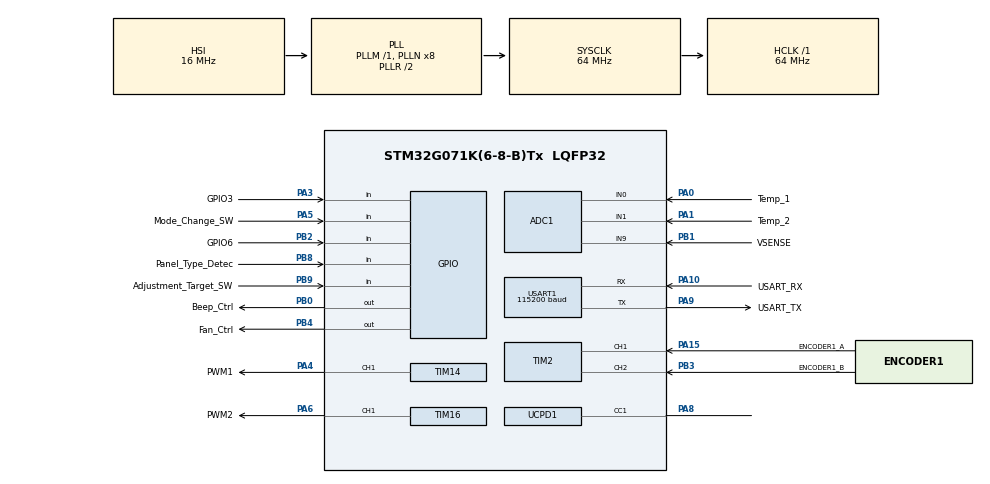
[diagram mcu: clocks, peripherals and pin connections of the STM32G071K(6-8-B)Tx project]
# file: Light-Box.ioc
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ADC1.Channel-0\#ChannelRegularConversion=ADC_CHANNEL_9
ADC1.Channel-1\#ChannelRegularConversion=ADC_CHANNEL_0
ADC1.Channel-2\#ChannelRegularConversion=ADC_CHANNEL_1
ADC1.ClockPrescaler=ADC_CLOCK_SYNC_PCLK_DIV4
ADC1.ContinuousConvMode=ENABLE
ADC1.DMAContinuousRequests=ENABLE
ADC1.NbrOfConversion=3
ADC1.NbrOfConversionFlag=1
ADC1.Overrun=ADC_OVR_DATA_OVERWRITTEN
ADC1.Rank-0\#ChannelRegularConversion=1
ADC1.Rank-1\#ChannelRegularConversion=2
ADC1.Rank-2\#ChannelRegularConversion=3
ADC1.SamplingTime-0\#ChannelRegularConversion=ADC_SAMPLINGTIME_COMMON_1
ADC1.SamplingTime-1\#ChannelRegularConversion=ADC_SAMPLINGTIME_COMMON_2
ADC1.SamplingTime-2\#ChannelRegularConversion=ADC_SAMPLINGTIME_COMMON_2
ADC1.SamplingTimeCommon1=ADC_SAMPLETIME_12CYCLES_5
ADC1.SamplingTimeCommon2=ADC_SAMPLETIME_39CYCLES_5
ADC1.SelectedChannel=ADC_CHANNEL_0|ADC_CHANNEL_1|ADC_CHANNEL_TEMPSENSOR|ADC_CHANNEL_9
ADC1.master=1
Dma.ADC1.1.Direction=DMA_PERIPH_TO_MEMORY
Dma.ADC1.1.EventEnable=DISABLE
Dma.ADC1.1.Instance=DMA1_Channel1
Dma.ADC1.1.MemDataAlignment=DMA_MDATAALIGN_HALFWORD
Dma.ADC1.1.MemInc=DMA_MINC_ENABLE
Dma.ADC1.1.Mode=DMA_CIRCULAR
Dma.ADC1.1.PeriphDataAlignment=DMA_PDATAALIGN_HALFWORD
Dma.ADC1.1.PeriphInc=DMA_PINC_DISABLE
Dma.ADC1.1.Polarity=HAL_DMAMUX_REQ_GEN_RISING
Dma.ADC1.1.Priority=DMA_PRIORITY_MEDIUM
Dma.ADC1.1.RequestNumber=1
Dma.ADC1.1.SignalID=NONE
Dma.ADC1.1.SyncEnable=DISABLE
Dma.ADC1.1.SyncPolarity=HAL_DMAMUX_SYNC_NO_EVENT
Dma.ADC1.1.SyncRequestNumber=1
Dma.ADC1.1.SyncSignalID=NONE
Dma.Request0=USART1_TX
Dma.Request1=ADC1
Dma.Request2=UCPD1_TX
Dma.Request3=UCPD1_RX
Dma.UCPD1_RX.3.Direction=DMA_PERIPH_TO_MEMORY
Dma.UCPD1_RX.3.EventEnable=DISABLE
Dma.UCPD1_RX.3.Instance=DMA1_Channel4
Dma.UCPD1_RX.3.MemDataAlignment=DMA_MDATAALIGN_BYTE
Dma.UCPD1_RX.3.MemInc=DMA_MINC_ENABLE
Dma.UCPD1_RX.3.Mode=DMA_NORMAL
Dma.UCPD1_RX.3.PeriphDataAlignment=DMA_PDATAALIGN_BYTE
Dma.UCPD1_RX.3.PeriphInc=DMA_PINC_DISABLE
Dma.UCPD1_RX.3.Polarity=HAL_DMAMUX_REQ_GEN_RISING
Dma.UCPD1_RX.3.Priority=DMA_PRIORITY_LOW
Dma.UCPD1_RX.3.RequestNumber=1
Dma.UCPD1_RX.3.SignalID=NONE
Dma.UCPD1_RX.3.SyncEnable=DISABLE
Dma.UCPD1_RX.3.SyncPolarity=HAL_DMAMUX_SYNC_NO_EVENT
Dma.UCPD1_RX.3.SyncRequestNumber=1
Dma.UCPD1_RX.3.SyncSignalID=NONE
Dma.UCPD1_TX.2.Direction=DMA_MEMORY_TO_PERIPH
Dma.UCPD1_TX.2.EventEnable=DISABLE
Dma.UCPD1_TX.2.Instance=DMA1_Channel2
Dma.UCPD1_TX.2.MemDataAlignment=DMA_MDATAALIGN_BYTE
Dma.UCPD1_TX.2.MemInc=DMA_MINC_ENABLE
Dma.UCPD1_TX.2.Mode=DMA_NORMAL
Dma.UCPD1_TX.2.PeriphDataAlignment=DMA_PDATAALIGN_BYTE
Dma.UCPD1_TX.2.PeriphInc=DMA_PINC_DISABLE
Dma.UCPD1_TX.2.Polarity=HAL_DMAMUX_REQ_GEN_RISING
Dma.UCPD1_TX.2.Priority=DMA_PRIORITY_LOW
Dma.UCPD1_TX.2.RequestNumber=1
Dma.UCPD1_TX.2.SignalID=NONE
Dma.UCPD1_TX.2.SyncEnable=DISABLE
Dma.UCPD1_TX.2.SyncPolarity=HAL_DMAMUX_SYNC_NO_EVENT
Dma.UCPD1_TX.2.SyncRequestNumber=1
Dma.UCPD1_TX.2.SyncSignalID=NONE
Dma.USART1_TX.0.Direction=DMA_MEMORY_TO_PERIPH
Dma.USART1_TX.0.EventEnable=DISABLE
Dma.USART1_TX.0.Instance=DMA1_Channel3
Dma.USART1_TX.0.MemDataAlignment=DMA_MDATAALIGN_BYTE
Dma.USART1_TX.0.MemInc=DMA_MINC_ENABLE
Dma.USART1_TX.0.Mode=DMA_NORMAL
Dma.USART1_TX.0.PeriphDataAlignment=DMA_PDATAALIGN_BYTE
Dma.USART1_TX.0.PeriphInc=DMA_PINC_DISABLE
Dma.USART1_TX.0.Polarity=HAL_DMAMUX_REQ_GEN_RISING
Dma.USART1_TX.0.Priority=DMA_PRIORITY_LOW
Dma.USART1_TX.0.RequestNumber=1
Dma.USART1_TX.0.SignalID=NONE
Dma.USART1_TX.0.SyncEnable=DISABLE
Dma.USART1_TX.0.SyncPolarity=HAL_DMAMUX_SYNC_NO_EVENT
Dma.USART1_TX.0.SyncRequestNumber=1
Dma.USART1_TX.0.SyncSignalID=NONE
FREERTOS.Tasks01=MainTask,2,256,StartMainTask,Default,NULL,Dynamic,NULL,NULL;AdjustLight,1,128,Run_AdjustLightOutput,Default,NULL,Dynamic,NULL,NULL;AdjustTarget,-1,128,Run_AdjustTargetChange,Default,NULL,Dynamic,NULL,NULL;Shortcut,1,128,Run_Shortcut,Default,NULL,Dynamic,NULL,NULL
FREERTOS.configTIMER_TASK_STACK_DEPTH=128
FREERTOS.configTOTAL_HEAP_SIZE=18384
FREERTOS.configUSE_NEWLIB_REENTRANT=1
FREERTOS.configUSE_TIMERS=1
Mcu.Family=STM32G0
Mcu.Name=STM32G071K(6-8-B)Tx
Mcu.Package=LQFP32
Mcu.UserConstants=OverTempLimit,TempState;VDDA_APPLI,3300
NVIC.ADC1_COMP_IRQn=true\:3\:0\:false\:false\:true\:true\:true\:true\:true
NVIC.DMA1_Ch4_7_DMAMUX1_OVR_IRQn=true\:3\:0\:false\:false\:true\:true\:false\:true\:true
NVIC.DMA1_Channel1_IRQn=true\:3\:0\:false\:false\:true\:true\:false\:true\:true
NVIC.DMA1_Channel2_3_IRQn=true\:3\:0\:false\:false\:true\:true\:false\:true\:true
NVIC.TIM14_IRQn=true\:3\:0\:false\:false\:true\:true\:true\:true\:true
NVIC.TIM16_IRQn=true\:3\:0\:true\:false\:true\:true\:true\:true\:true
NVIC.TIM2_IRQn=true\:3\:0\:false\:false\:true\:true\:true\:true\:true
NVIC.UCPD1_2_IRQn=true\:3\:0\:false\:false\:true\:true\:true\:false\:true
NVIC.USART1_IRQn=true\:3\:0\:false\:false\:true\:true\:true\:true\:true
PA0.GPIO_Label=Temp_1
PA0.Mode=IN0
PA0.Signal=ADC1_IN0
PA1.GPIO_Label=Temp_2
PA1.Mode=IN1
PA1.Signal=ADC1_IN1
PA10\ [PA12].GPIO_Label=USART_RX
PA10\ [PA12].Mode=Asynchronous
PA10\ [PA12].Signal=USART1_RX
PA13.Mode=Serial_Wire
PA13.Signal=SYS_SWDIO
PA14-BOOT0.Mode=Serial_Wire
PA14-BOOT0.Signal=SYS_SWCLK
PA15.GPIO_Label=ENCODER1_A
PA15.GPIO_PuPd=GPIO_PULLDOWN
PA15.Signal=S_TIM2_CH1_ETR
PA3.GPIO_Label=GPIO3
PA3.GPIO_PuPd=GPIO_PULLDOWN
PA3.Signal=GPIO_Input
PA4.GPIO_Label=PWM1
PA4.GPIO_PuPd=GPIO_PULLDOWN
PA4.GPIO_Speed=GPIO_SPEED_FREQ_VERY_HIGH
PA4.Signal=S_TIM14_CH1
PA5.GPIO_Label=Mode_Change_SW
PA5.GPIO_PuPd=GPIO_PULLDOWN
PA5.Signal=GPIO_Input
PA6.GPIO_Label=PWM2
PA6.GPIO_PuPd=GPIO_PULLDOWN
PA6.GPIO_Speed=GPIO_SPEED_FREQ_VERY_HIGH
PA6.Signal=S_TIM16_CH1
PA8.Mode=Sink_NoCC2
PA8.Signal=UCPD1_CC1
PA9\ [PA11].GPIO_Label=USART_TX
PA9\ [PA11].Mode=Asynchronous
PA9\ [PA11].Signal=USART1_TX
PB0.GPIO_Label=Beep_Ctrl
PB0.GPIO_PuPd=GPIO_PULLDOWN
PB0.Signal=GPIO_Output
PB1.GPIO_Label=VSENSE
PB1.Mode=IN9
PB1.Signal=ADC1_IN9
PB2.GPIO_Label=GPIO6
PB2.Signal=GPIO_Input
PB3.GPIO_Label=ENCODER1_B
PB3.GPIO_PuPd=GPIO_PULLDOWN
PB3.Signal=S_TIM2_CH2
PB4.GPIO_Label=Fan_Ctrl
PB4.Signal=GPIO_Output
PB8.GPIO_Label=Panel_Type_Detec
PB8.Signal=GPIO_Input
PB9.GPIO_Label=Adjustment_Target_SW
PB9.GPIO_PuPd=GPIO_PULLUP
PB9.Signal=GPIO_Input
ProjectManager.HeapSize=0xC00
ProjectManager.StackSize=0x400
ProjectManager.TargetToolchain=Makefile
RCC.ADCFreq_Value=64000000
RCC.AHBFreq_Value=64000000
RCC.CortexFreq_Value=64000000
RCC.EXTERNAL_CLOCK_VALUE=48000
RCC.HCLKFreq_Value=64000000
RCC.HSE_VALUE=8000000
RCC.HSI_VALUE=16000000
RCC.LSE_VALUE=32768
RCC.SYSCLKFreq_VALUE=64000000
RCC.SYSCLKSource=RCC_SYSCLKSOURCE_PLLCLK
RCC.VCOOutputFreq_Value=128000000
SH.S_TIM14_CH1.0=TIM14_CH1,PWM Generation1 CH1
SH.S_TIM16_CH1.0=TIM16_CH1,PWM Generation1 CH1
SH.S_TIM2_CH1_ETR.0=TIM2_CH1,Encoder_Interface
SH.S_TIM2_CH2.0=TIM2_CH2,Encoder_Interface
TIM14.Channel=TIM_CHANNEL_1
TIM14.OC1Preload_PWM=DISABLE
TIM14.OCPolarity_1=TIM_OCPOLARITY_HIGH
TIM14.Period=13333
TIM14.Prescaler=4
TIM16.Channel=TIM_CHANNEL_1
TIM16.OC1Preload_PWM=DISABLE
TIM16.OCPolarity_1=TIM_OCPOLARITY_HIGH
TIM16.Period=13333
TIM16.Prescaler=4
UCPD1_DBCC1.Mode=EnableDeadBattery
UCPD1_DBCC1.Signal=UCPD1_DBCC1
UCPD1_DBCC2.Mode=EnableDeadBattery
UCPD1_DBCC2.Signal=UCPD1_DBCC2
USART1.BaudRate=115200
USART1.VirtualMode-Asynchronous=VM_ASYNC
VP_ADC1_TempSens_Input.Mode=IN-TempSens
VP_FREERTOS_VS_CMSIS_V1.Mode=CMSIS_V1
VP_SYS_VS_PINREMAP.Mode=PINREMAP
VP_SYS_VS_PINREMAP_10_12.Mode=PINREMAP_10_12
VP_SYS_V_PVD_IN.Mode=Mode_PVD_Int
VP_TIM14_VS_ClockSourceINT.Mode=Enable_Timer
VP_TIM16_VS_ClockSourceINT.Mode=Enable_Timer
VP_USBPD_VS_PD3FULL.Mode=PD3_Full_Stack
VP_USBPD_VS_USBPD1.Mode=USBPD_P0
VP_USBPD_VS_usbpd_tim1.Mode=TIM1
board=custom

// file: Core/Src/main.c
/* USER CODE BEGIN Header */
/**
  ******************************************************************************
  * @file           : main.c
  * @brief          : Main program body
  ******************************************************************************
  * @attention
  *
  * Copyright (c) 2025 STMicroelectronics.
  * All rights reserved.
  *
  * This software is licensed under terms that can be found in the LICENSE file
  * in the root directory of this software component.
  * If no LICENSE file comes with this software, it is provided AS-IS.
  *
  ******************************************************************************
  */
/* USER CODE END Header */
#include "main.h"
#include "cmsis_os.h"
#include "adc.h"
#include "dma.h"
#include "tim.h"
#include "ucpd.h"
#include "usart.h"
#include "usbpd.h"
#include "gpio.h"

/* USER CODE BEGIN Includes */
#include <stdio.h>
#include <string.h>
#include <stdlib.h>
#include "beep.h"
#include "encoder.h"
#include "shortcut.h"
#include "pwm_app.h"
#include "mixedlight_switch.h"
#include "ntc_temperature.h"
#include "device_info.h"
/* USER CODE END Includes */

/* USER CODE BEGIN PV */
char msg_init[30];              // Initialization message
char msg_UID[64];              // UID message
extern uint32_t uid[3];         // 96 bit STM32 UID
extern char UID_Base32[21];     // 20 chars for Base32 + 1 for null terminator
extern char UID_Base64URL[17];  // 16 chars for Base64URL + 1 for null terminator
/* USER CODE END PV */

void SystemClock_Config(void);
void MX_FREERTOS_Init(void);

int main(void)
{

  /* MCU Configuration--------------------------------------------------------*/

  /* Reset of all peripherals, Initializes the Flash interface and the Systick. */
  HAL_Init();

  /* Configure the system clock */
  SystemClock_Config();

  /* Initialize all configured peripherals */
  MX_GPIO_Init();
  MX_DMA_Init();
  MX_ADC1_Init();
  MX_TIM14_Init();
  MX_USART1_UART_Init();
  MX_TIM2_Init();
  MX_TIM16_Init();
  MX_UCPD1_Init();
  /* USER CODE BEGIN 2 */
  if(factory == 1) { // Convert UID and send it to PC only in factory test mode
    sprintf(msg_init, "INITIALIZATION SUCCESS!\r\n");
    HAL_UART_Transmit(&huart1, (uint8_t*)msg_init, strlen(msg_init), 100);
    uint32_t UID_ADDR= Get_UID_address(current_chip_series);
    sprintf(msg_UID, "UID ADDR: 0x%08lX\r\n", UID_ADDR);
    HAL_UART_Transmit(&huart1, (uint8_t*)msg_UID, strlen(msg_UID), 100);
    Get_Chip_UID(UID_ADDR);
    sprintf(msg_UID, "UID: %08lX-%08lX-%08lX\r\n", uid[0], uid[1], uid[2]);
    HAL_UART_Transmit(&huart1, (uint8_t*)msg_UID, strlen(msg_UID), 100);
    UID_To_Base32(uid, UID_ENDIAN_LITTLE);
    sprintf(msg_UID, "UID base32-L: %s\r\n", UID_Base32);
    HAL_UART_Transmit(&huart1, (uint8_t*)msg_UID, strlen(msg_UID), 100);
    UID_To_Base32(uid, UID_ENDIAN_BIG);
    sprintf(msg_UID, "UID base32-B: %s\r\n", UID_Base32);
    HAL_UART_Transmit(&huart1, (uint8_t*)msg_UID, strlen(msg_UID), 100);
    UID_To_Base64URL(uid, UID_ENDIAN_LITTLE);
    sprintf(msg_UID, "UID base64-L: %s\r\n", UID_Base64URL);
    HAL_UART_Transmit(&huart1, (uint8_t*)msg_UID, strlen(msg_UID), 100);
    UID_To_Base64URL(uid, UID_ENDIAN_BIG);
    sprintf(msg_UID, "UID base64-B: %s\r\n", UID_Base64URL);
    HAL_UART_Transmit(&huart1, (uint8_t*)msg_UID, strlen(msg_UID), 100);
    // Beep_Blocking(20);
  }
  Beep_Blocking(100);
  HAL_Delay(75);
  Beep_Blocking(100);
  HAL_Delay(150);
  /* USER CODE END 2 */

  /* USBPD initialisation ---------------------------------*/
  MX_USBPD_Init();
  /* Call init function for freertos objects (in cmsis_os2.c) */
  MX_FREERTOS_Init();

  /* Start scheduler */
  osKernelStart();

  /* We should never get here as control is now taken by the scheduler */

  /* Infinite loop */
  while (1)
  {

    /* USER CODE BEGIN 3 */
    HAL_Delay(500);
    sprintf(msg_init, "Running FreeRTOS FAILED!\r\n");
    HAL_UART_Transmit(&huart1, (uint8_t*)msg_init, strlen(msg_init), 100);
  }
  /* USER CODE END 3 */
}

void SystemClock_Config(void)
{
  RCC_OscInitTypeDef RCC_OscInitStruct = {0};
  RCC_ClkInitTypeDef RCC_ClkInitStruct = {0};

  /** Configure the main internal regulator output voltage
  */
  HAL_PWREx_ControlVoltageScaling(PWR_REGULATOR_VOLTAGE_SCALE1);

  /** Initializes the RCC Oscillators according to the specified parameters
  * in the RCC_OscInitTypeDef structure.
  */
  RCC_OscInitStruct.OscillatorType = RCC_OSCILLATORTYPE_HSI;
  RCC_OscInitStruct.HSIState = RCC_HSI_ON;
  RCC_OscInitStruct.HSIDiv = RCC_HSI_DIV1;
  RCC_OscInitStruct.HSICalibrationValue = RCC_HSICALIBRATION_DEFAULT;
  RCC_OscInitStruct.PLL.PLLState = RCC_PLL_ON;
  RCC_OscInitStruct.PLL.PLLSource = RCC_PLLSOURCE_HSI;
  RCC_OscInitStruct.PLL.PLLM = RCC_PLLM_DIV1;
  RCC_OscInitStruct.PLL.PLLN = 8;
  RCC_OscInitStruct.PLL.PLLP = RCC_PLLP_DIV2;
  RCC_OscInitStruct.PLL.PLLQ = RCC_PLLQ_DIV2;
  RCC_OscInitStruct.PLL.PLLR = RCC_PLLR_DIV2;
  if (HAL_RCC_OscConfig(&RCC_OscInitStruct) != HAL_OK)
  {
    Error_Handler();
  }

  /** Initializes the CPU, AHB and APB buses clocks
  */
  RCC_ClkInitStruct.ClockType = RCC_CLOCKTYPE_HCLK|RCC_CLOCKTYPE_SYSCLK
                              |RCC_CLOCKTYPE_PCLK1;
  RCC_ClkInitStruct.SYSCLKSource = RCC_SYSCLKSOURCE_PLLCLK;
  RCC_ClkInitStruct.AHBCLKDivider = RCC_SYSCLK_DIV1;
  RCC_ClkInitStruct.APB1CLKDivider = RCC_HCLK_DIV1;

  if (HAL_RCC_ClockConfig(&RCC_ClkInitStruct, FLASH_LATENCY_2) != HAL_OK)
  {
    Error_Handler();
  }
}

void Error_Handler(void)
{
  __disable_irq();
  while (1)
  {
  }
}

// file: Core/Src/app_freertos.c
/* USER CODE BEGIN Header */
/**
  ******************************************************************************
  * File Name          : app_freertos.c
  * Description        : Code for freertos applications
  ******************************************************************************
  * @attention
  *
  * Copyright (c) 2025 STMicroelectronics.
  * All rights reserved.
  *
  * This software is licensed under terms that can be found in the LICENSE file
  * in the root directory of this software component.
  * If no LICENSE file comes with this software, it is provided AS-IS.
  *
  ******************************************************************************
  */
/* USER CODE END Header */

#include "FreeRTOS.h"
#include "task.h"
#include "main.h"
#include "cmsis_os.h"

/* USER CODE BEGIN Includes */
#include <stdio.h>
#include <string.h>
#include <stdlib.h>
#include "adc.h"
#include "dma.h"
#include "tim.h"
#include "usart.h"
#include "gpio.h"
#include "data_format.h"
#include "beep.h"
#include "encoder.h"
#include "pwm_app.h"
#include "mixedlight_switch.h"
#include "ntc_temperature.h"
#include "shortcut.h"
#include "temperature_monitor.h"
/* USER CODE END Includes */

/* USER CODE BEGIN Variables */
char msg_task_init[25];
char msg_task_task0[64];
char msg_task_task1[64];
char msg_task_task2[64];
char msg_task_task3[64];
extern uint16_t adc_buffer[3];
static ShortcutHandle_t shortcut_handle;            // shortcut handler state
static EncoderMode_t last_mode = MODE_Temperature;  // last encoder mode
/* USER CODE END Variables */
osThreadId MainTaskHandle;
osThreadId AdjustLightHandle;
osThreadId AdjustTargetHandle;
osThreadId ShortcutHandle;

/* USER CODE BEGIN FunctionPrototypes */
// Callback for updating PWM output based on encoder changes
static void Encoder_AppCallback(float new_brightness, float new_cct_level)
{
    PWM_App_Update(new_brightness, new_cct_level);
}
// System initialization function
void SYS_Init(void *argument)
{
  // Register Encoder callback
  Encoder_RegisterCallback(Encoder_AppCallback);
  // Initialize encoder
  Encoder_Init(&htim2);
  // Initialize PWM application
  PWM_App_Init();
  // Initialization finished
  sprintf(msg_task_init, "AdjustLightOutput\r\n");
  HAL_UART_Transmit(&huart1, (uint8_t*)msg_task_init, strlen(msg_task_init), 500);
  // Delay 10ms
  HAL_Delay(5);
  // Initialization finished
  sprintf(msg_task_init, "AdjustTargetChange\r\n");
  HAL_UART_Transmit(&huart1, (uint8_t*)msg_task_init, strlen(msg_task_init), 500);
  // Delay 10ms
  HAL_Delay(5);
  // Initialize shortcut button handling
  Shortcut_Init(&shortcut_handle, Mode_Change_SW_GPIO_Port, Mode_Change_SW_Pin);
  // Initialization finished
  sprintf(msg_task_init, "Shortcut\r\n");
  HAL_UART_Transmit(&huart1, (uint8_t*)msg_task_init, strlen(msg_task_init), 500);
  // Delay 10ms
  HAL_Delay(5);
  // Create a timer for non-blocking beep
  Beep_NonBlocking_Init();
  // Config temperature channels
  Temperature_Channel_Config(NULL);
  // Initialization finished
  sprintf(msg_task_init, "main task...\r\n");
  HAL_UART_Transmit(&huart1, (uint8_t*)msg_task_init, strlen(msg_task_init), 100);
}
/* USER CODE END FunctionPrototypes */

void StartMainTask(void const * argument);
void Run_AdjustLightOutput(void const * argument);
void Run_AdjustTargetChange(void const * argument);
void Run_Shortcut(void const * argument);

void MX_FREERTOS_Init(void); /* (MISRA C 2004 rule 8.1) */

void MX_FREERTOS_Init(void) {
  /* USER CODE BEGIN Init */
  SYS_Init(NULL);
  /* USER CODE END Init */

  /* Create the thread(s) */
  /* definition and creation of MainTask */
  osThreadDef(MainTask, StartMainTask, osPriorityHigh, 0, 256);
  MainTaskHandle = osThreadCreate(osThread(MainTask), NULL);

  /* definition and creation of AdjustLight */
  osThreadDef(AdjustLight, Run_AdjustLightOutput, osPriorityAboveNormal, 0, 128);
  AdjustLightHandle = osThreadCreate(osThread(AdjustLight), NULL);

  /* definition and creation of AdjustTarget */
  osThreadDef(AdjustTarget, Run_AdjustTargetChange, osPriorityBelowNormal, 0, 128);
  AdjustTargetHandle = osThreadCreate(osThread(AdjustTarget), NULL);

  /* definition and creation of Shortcut */
  osThreadDef(Shortcut, Run_Shortcut, osPriorityAboveNormal, 0, 128);
  ShortcutHandle = osThreadCreate(osThread(Shortcut), NULL);

}

void StartMainTask(void const * argument)
{
  /* USER CODE BEGIN StartMainTask */
  osDelay(30);
  /* Infinite loop */
  for(;;)
  {
    osDelay(1500);
    Temperature_Monitor(NULL);
    osDelay(1500);
  }
  /* USER CODE END StartMainTask */
}

void Run_AdjustLightOutput(void const * argument)
{
  /* USER CODE BEGIN Run_AdjustLightOutput */
  osDelay(5);
  // Initialize PWM application
  PWM_App_Init();
  // Create a queue to transfer the encoder's mode
  MixedlightSwitch_init();
  // Start PWM output
  osDelay(20);
  PWM_App_Start();
  /* Infinite loop */
  for(;;)
  {
    // Process encoder action
    Encoder_Update(&htim2);
    osDelay(50);
  }
  /* USER CODE END Run_AdjustLightOutput */
}

void Run_AdjustTargetChange(void const * argument)
{
  /* USER CODE BEGIN Run_AdjustTargetChange */
  osDelay(5);
  // Get the latest mode
  last_mode = MixedlightSwitch_GetCurrentMode();
  /* Infinite loop */
  for(;;)
  {
    MixedlightSwitch_UpdateCurrentMode();
    EncoderMode_t current_mode = MixedlightSwitch_GetCurrentMode();
    // Beep if the encoder's mode changed
    if (current_mode != last_mode) {
      // Update the latest mode
      last_mode = current_mode;
      Beep_NonBlocking(20);
      if(factory == 1) {
        sprintf(msg_task_task2, "last_mode: %d [MODE_Temperature = 0, MODE_Brightness = 1]\r\n", last_mode);
        HAL_UART_Transmit(&huart1, (uint8_t*)msg_task_task2, strlen(msg_task_task2), 500);
      }
    }
    osDelay(20);
  }
  /* USER CODE END Run_AdjustTargetChange */
}

void Run_Shortcut(void const * argument)
{
  /* USER CODE BEGIN Run_Shortcut */
  osDelay(5);
  /* Infinite loop */
  for(;;)
  {
    ShortcutAction_t action = Shortcut_ProcessPress(&shortcut_handle, Mode_Change_SW_GPIO_Port, Mode_Change_SW_Pin);
    // sprintf(msg_task_task3, "Shortcut_ProcessPress %d\r\n", action);
    // HAL_UART_Transmit(&huart1, (uint8_t*)msg_task_task3, strlen(msg_task_task3), 500);
    switch (action) {
      case SHORTCUT_SINGLE_CLICK:
      {
        // Get and save the current state
        float cur_b = Encoder_GetBrightness();
        float cur_c = Encoder_GetCCTLevel();
        Shortcut_SaveCurrentState(&shortcut_handle, cur_b, cur_c);
        // Update PWM and turn off to avoid encoder jitter
        Encoder_Lock();   // lock the encoder
        PWM_App_Stop();   // stop PWM output
        Beep_NonBlocking(40);
        if(factory == 1) {
          sprintf(msg_task_task3, "QUICK_OFF (b_%0.3f c_%0.3f)\r\n", cur_b, cur_c);
          HAL_UART_Transmit(&huart1, (uint8_t*)msg_task_task3, strlen(msg_task_task3), 500);
        }
        break;
      }
      case SHORTCUT_DOUBLE_CLICK:
      {
        // Get the saved state
        LightState_t state_to_restore = Shortcut_GetSavedState(&shortcut_handle);
        // Restore the saved state if valid
        if (state_to_restore.is_valid) {
          // Unlock the encoder
          Encoder_Unlock(&htim2);
          // Update PWM
          PWM_App_Update(shortcut_handle.saved_state.brightness, shortcut_handle.saved_state.cct_level);
          // Start PWM output
          PWM_App_Start();
          Beep_NonBlocking(85);
          if(factory == 1) {
          sprintf(msg_task_task3, "RESTORE_STATE (b_%0.3f c_%0.3f)\r\n", shortcut_handle.saved_state.brightness, shortcut_handle.saved_state.cct_level);
            HAL_UART_Transmit(&huart1, (uint8_t*)msg_task_task3, strlen(msg_task_task3), 500);
          }
        }
        break;
      }
      case SHORTCUT_LONG_PRESS:
      {
      if(factory == 1) {
              sprintf(msg_task_task3, "LONG_PRESS\r\n");
              HAL_UART_Transmit(&huart1, (uint8_t*)msg_task_task3, strlen(msg_task_task3), 500);
            }
      }
      default:
        break;
      }
    osDelay(10);
  }
  /* USER CODE END Run_Shortcut */
}
